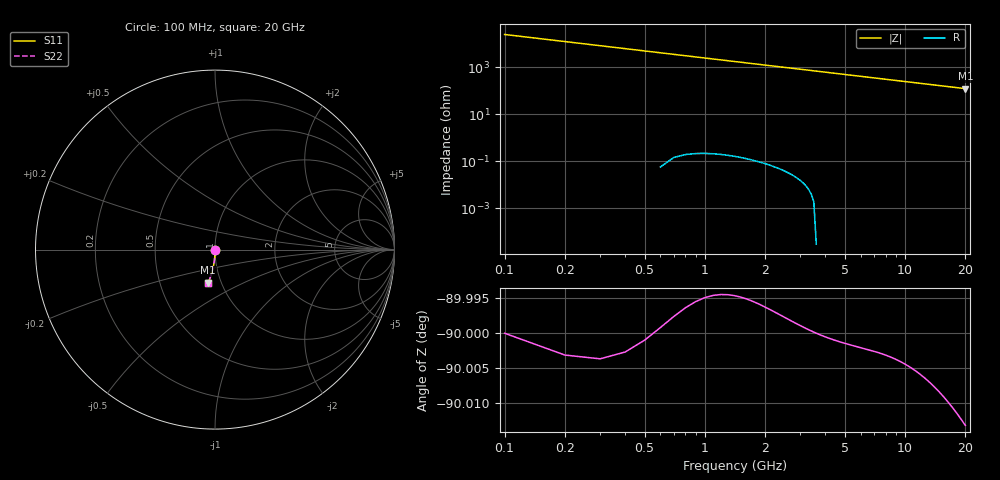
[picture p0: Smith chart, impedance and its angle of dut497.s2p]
! Touchstone file exported from HFSS 2026.1.0
!  File:  C:/ffzhzh/LocalFiles/Ansys_Project_Files/temp_train_TSV_497_1783022957_4048.aedt
!  Generated:  04:10:33 AM Jul  3, 2026
!  Design:  TSV
!  Project:  temp_train_TSV_497_1783022957_4048
! Variables:
!  h_bsmrdl = 2um
!  h_ox = 20um
!  h_rdl = 5um
!  h_sub = 59.4um
!  h_tmrdl = 5um
!  h_tsv = 59.4um
!  h_via = 3um
!  l_bsmrdl = 300um
!  l_sub = 427.3um
!  l_tmrdl = 200um
!  m_sub = 200um
!  pitch = 28.38um
!  r_tsv = 13.65um
!  s_tmrdl = 10um
!  w_bsmrdl = 18um
!  w_sub = 500um
!  w_tmrdl = 12um
!  x_tsv_center1 = 206um
!  x_tsv_center2 = 524um
!  x_tsv_center3 = 736um
!  x_tsv_center4 = 1054um
!  x_tsv_center5 = 1266um
!  x_tsv_center6 = 1584um
# GHz S MA R 50.000000
! Terminal data exported
! Port[1] = TSV1_1_T1
! Port[2] = TSV1_1_T2
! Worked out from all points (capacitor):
!   200 points, 100 MHz to 20 GHz, reference 50 ohm
!   read as one part in shunt: C = 65.1 fF near 200 MHz
!   lowest |Z| = 123 ohm at 20 GHz (marker M1)
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0.1  0.0009032 -84.6  0.9999 -0.1  0.9999 -0.1  0.0009032 -84.6
! Gamma 0 0 0 0
! Port Impedance 50 0 50 0
0.2  0.001808 -86.7  0.9999 -0.1  0.9999 -0.1  0.001808 -86.7
0.3  0.002724 -87.3  0.9999 -0.2  0.9999 -0.2  0.002724 -87.3
0.4  0.003652 -87.6  0.9998 -0.3  0.9998 -0.3  0.003652 -87.6
0.5  0.004589 -87.8  0.9998 -0.3  0.9998 -0.3  0.004589 -87.8
0.7  0.006482 -88.1  0.9997 -0.4  0.9997 -0.4  0.006482 -88.1
0.8  0.007434 -88.3  0.9997 -0.5  0.9997 -0.5  0.007434 -88.3
1  0.009343 -88.6  0.9996 -0.6  0.9996 -0.6  0.009343 -88.6
1.2  0.01125 -88.9  0.9996 -0.8  0.9996 -0.8  0.01125 -88.9
1.4  0.01317 -89.2  0.9995 -0.9  0.9995 -0.9  0.01317 -89.2
1.7  0.01603 -89.6  0.9994 -1.1  0.9994 -1.1  0.01603 -89.6
2  0.0189 -89.9  0.9994 -1.3  0.9994 -1.3  0.0189 -89.9
2.7  0.02558 -90.5  0.9991 -1.7  0.9991 -1.7  0.02558 -90.5
3.5  0.03322 -91.2  0.9988 -2.2  0.9988 -2.2  0.03322 -91.2
4.2  0.03991 -91.7  0.9985 -2.6  0.9985 -2.6  0.03991 -91.7
5  0.04755 -92.2  0.9981 -3.1  0.9981 -3.1  0.04755 -92.2
6.8  0.06475 -93.4  0.997 -4.2  0.997 -4.2  0.06475 -93.4
8.3  0.07905 -94.4  0.9959 -5.2  0.9959 -5.2  0.07905 -94.4
10.1  0.09616 -95.6  0.9942 -6.3  0.9942 -6.3  0.09616 -95.6
13.4  0.1273 -97.7  0.9905 -8.3  0.9905 -8.3  0.1273 -97.7
16.7  0.158 -99.8  0.9859 -10.3  0.9859 -10.3  0.158 -99.8
20  0.1883 -101.8  0.9804 -12.3  0.9804 -12.3  0.1883 -101.8
